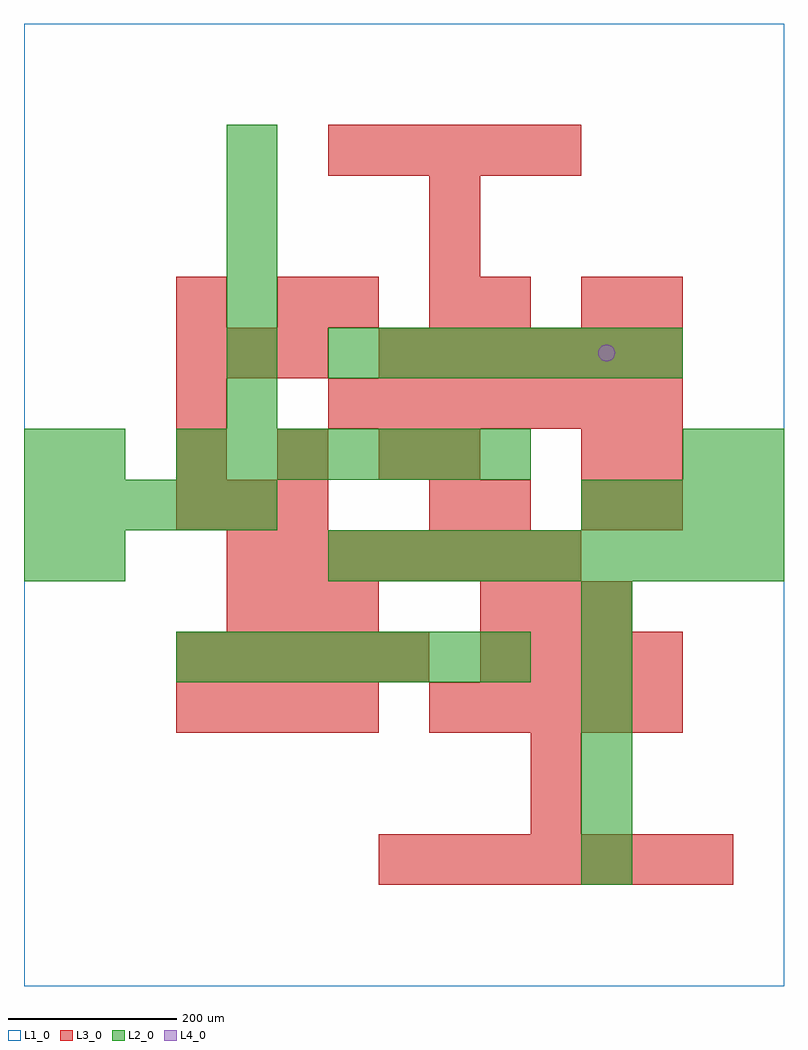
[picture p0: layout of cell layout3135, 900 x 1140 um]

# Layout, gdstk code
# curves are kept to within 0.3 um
import gdstk
lib = gdstk.Library(unit=1e-6, precision=1e-09)
def R(c, l, rs):  # rectangles x0, y0, x1, y1
    for r in rs: c.add(gdstk.rectangle(r[:2], r[2:], *l))
def A(c, l, x, y, w, h, nx, ny, dx, dy):  # array of equal rectangles
    R(c, l, [(x+i*dx, y+j*dy, x+i*dx+w, y+j*dy+h) for i in range(nx) for j in range(ny)])
def P(c, l, *ps):  # polygons
    for p in ps: c.add(gdstk.Polygon(p, *l))
L1_0 = (1, 0)
L2_0 = (2, 0)
L3_0 = (3, 0)
L4_0 = (4, 0)

layout3135 = lib.new_cell('layout3135')
R(layout3135, L1_0, [(0,0,900,1140)])
A(layout3135, L2_0, 660, 120, 60, 60, 1, 6, 0, 60)
A(layout3135, L2_0, 180, 360, 60, 60, 7, 2, 60, 240)
A(layout3135, L2_0, 360, 480, 60, 60, 9, 1, 60, 0)
A(layout3135, L2_0, 0, 540, 60, 60, 5, 1, 60, 0)
A(layout3135, L2_0, 660, 540, 60, 60, 4, 1, 60, 0)
A(layout3135, L2_0, 240, 660, 60, 60, 1, 6, 0, 60)
A(layout3135, L2_0, 360, 720, 60, 60, 7, 1, 60, 0)
R(layout3135, L2_0, [(0,480,60,540), (60,480,120,540), (0,600,60,660), (60,600,120,660), (780,600,840,660), (840,600,900,660)])
A(layout3135, L3_0, 420, 120, 60, 60, 7, 1, 60, 0)
A(layout3135, L3_0, 180, 300, 60, 60, 4, 1, 60, 0)
A(layout3135, L3_0, 480, 300, 60, 60, 5, 1, 60, 0)
A(layout3135, L3_0, 180, 360, 60, 60, 5, 1, 60, 0)
A(layout3135, L3_0, 540, 360, 60, 60, 4, 1, 60, 0)
A(layout3135, L3_0, 240, 420, 60, 60, 3, 1, 60, 0)
A(layout3135, L3_0, 540, 420, 60, 60, 3, 1, 60, 0)
A(layout3135, L3_0, 240, 480, 60, 60, 7, 1, 60, 0)
A(layout3135, L3_0, 180, 540, 60, 60, 3, 2, 60, 180)
A(layout3135, L3_0, 180, 600, 60, 60, 3, 1, 120, 0)
A(layout3135, L3_0, 360, 660, 60, 60, 7, 1, 60, 0)
A(layout3135, L3_0, 420, 720, 60, 60, 6, 1, 60, 0)
A(layout3135, L3_0, 480, 780, 60, 60, 1, 3, 0, 60)
A(layout3135, L3_0, 360, 960, 60, 60, 5, 1, 60, 0)
R(layout3135, L3_0, [(600,180,660,240), (600,240,660,300), (480,540,540,600), (540,540,600,600), (660,540,720,600), (720,540,780,600), (480,600,540,660), (660,600,720,660), (720,600,780,660), (180,660,240,720), (180,780,240,840), (300,780,360,840), (360,780,420,840), (540,780,600,840), (660,780,720,840), (720,780,780,840)])
P(layout3135, L4_0, [(700,750),(699.239,753.827),(697.071,757.071),(693.827,759.239),(690,760),(686.173,759.239),(682.929,757.071),(680.761,753.827),(680,750),(680.761,746.173),(682.929,742.929),(686.173,740.761),(690,740),(693.827,740.761),(697.071,742.929),(699.239,746.173)])

lib.write_gds('layout3135.gds')
